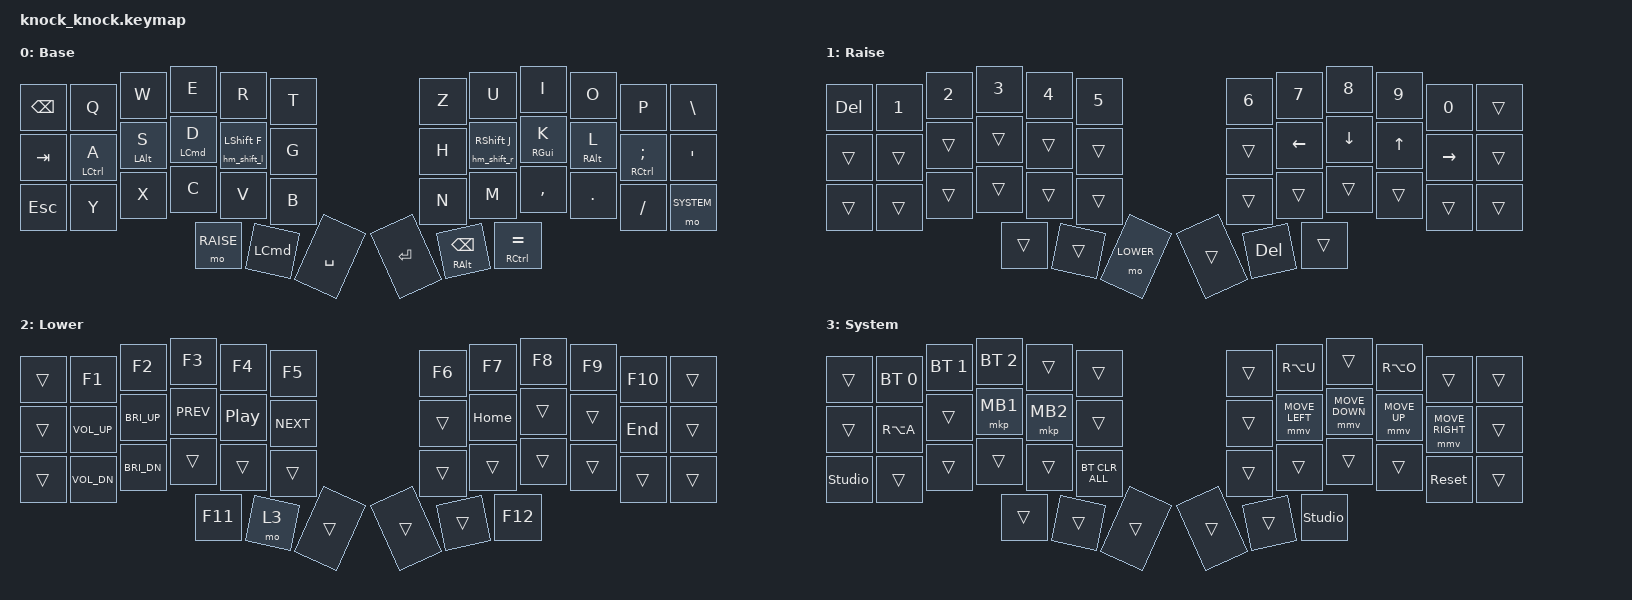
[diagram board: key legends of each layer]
#include <behaviors.dtsi>
#include <dt-bindings/zmk/bt.h>
#include <dt-bindings/zmk/outputs.h>
#include <dt-bindings/zmk/keys.h>
#include <dt-bindings/zmk/pointing.h>
/* #include <dt-bindings/zmk/studio_unlock.h> */

/* #include "includes/settings.dtsi" */
#include "includes/combos.dtsi"
#include "includes/homerow_mods.dtsi"

#define BASE   0
#define LOWER  1
#define RAISE  2
#define SYSTEM 3

/ {
    behaviors {
        mt: mod_tap {
            compatible = "zmk,behavior-hold-tap";
            #binding-cells = <2>;
            flavor = "hold-preferred";
            tapping-term-ms = <140>;
            bindings = <&kp>, <&kp>;
            display-name = "Mod-Tap";
        };
        /* mo_tog: behavior_mo_tog { */
        /*     compatible = "zmk,behavior-hold-tap"; */
        /*     #binding-cells = <2>; */
        /*     flavor = "hold-preferred"; */
        /*     tapping-term-ms = <200>; */
        /*     bindings = <&mo>, <&tog>; */
        /* }; */
    };

    keymap {
        compatible = "zmk,keymap";

        base {
            display-name = "Base";
            bindings = <
//    ┌──────┬──────────────┬──────────────┬──────────────┬────────────────────┬─────┐           ┌─────┬────────────────────┬──────────────┬──────────────┬──────────────┬───────────┐
//    │ bspc │      Q       │      W       │      E       │         R          │  T  │           │  Z  │         U          │      I       │      O       │      P       │     \     │
//    ├──────┼──────────────┼──────────────┼──────────────┼────────────────────┼─────┤           ├─────┼────────────────────┼──────────────┼──────────────┼──────────────┼───────────┤
//    │ tab  │ &hm_l lctl A │ &hm_l lalt S │ &hm_l lgui D │ &hm_shift_l lsft F │  G  │           │  H  │ &hm_shift_r rsft J │ &hm_r rgui K │ &hm_r ralt L │ &hm_r rctl ; │     '     │
//    ├──────┼──────────────┼──────────────┼──────────────┼────────────────────┼─────┤           ├─────┼────────────────────┼──────────────┼──────────────┼──────────────┼───────────┤
//    │ esc  │      Y       │      X       │      C       │         V          │  B  │           │  N  │         M          │      ,       │      .       │      /       │ mo SYSTEM │
//    └──────┴──────────────┴──────────────┼──────────────┼────────────────────┼─────┤           ├─────┼────────────────────┼──────────────┼──────────────┴──────────────┴───────────┘
//                                         │  mo raltISE  │        lgui        │ spc │           │ ent │  &hm_r ralt bspc   │ &hm_r rctl = │
//                                         └──────────────┴────────────────────┴─────┘           └─────┴────────────────────┴──────────────┘
  &kp BSPC   &kp Q           &kp W          &kp E          &kp R                  &kp T                   &kp Z       &kp U                  &kp I               &kp O               &kp P                   &kp BSLH
  &kp TAB    &hm_l LCTRL A   &hm_l LALT S   &hm_l LCMD D   &hm_shift_l LSHIFT F   &kp G                   &kp H       &hm_shift_r RSHIFT J   &hm_r RIGHT_GUI K   &hm_r RIGHT_ALT L   &hm_r RCTRL SEMICOLON   &kp SQT
  &kp ESC    &kp Y           &kp X          &kp C          &kp V                  &kp B                   &kp N       &kp M                  &kp COMMA           &kp PERIOD          &kp SLASH               &mo SYSTEM
                                            &mo RAISE      &kp LCMD               &kp SPACE               &kp ENTER   &hm_r RALT BSPC        &hm_r RCTRL EQUAL
            >;
        };

        raise {
            display-name = "Raise";
            bindings = <
//    ┌─────┬─────┬─────┬─────┬─────┬──────────┐           ┌─────┬──────┬──────┬─────┬──────┬─────┐
//    │ del │  1  │  2  │  3  │  4  │    5     │           │  6  │  7   │  8   │  9  │  0   │     │
//    ├─────┼─────┼─────┼─────┼─────┼──────────┤           ├─────┼──────┼──────┼─────┼──────┼─────┤
//    │     │     │     │     │     │          │           │     │ left │ down │ up  │ rght │     │
//    ├─────┼─────┼─────┼─────┼─────┼──────────┤           ├─────┼──────┼──────┼─────┼──────┼─────┤
//    │     │     │     │     │     │          │           │     │      │      │     │      │     │
//    └─────┴─────┴─────┼─────┼─────┼──────────┤           ├─────┼──────┼──────┼─────┴──────┴─────┘
//                      │     │     │ mo LOWER │           │     │ del  │      │
//                      └─────┴─────┴──────────┘           └─────┴──────┴──────┘
  &kp DEL   &kp NUMBER_1   &kp NUMBER_2   &kp NUMBER_3   &kp NUMBER_4   &kp N5                  &kp NUMBER_6   &kp N7     &kp N8     &kp N9   &kp N0      &trans
  &trans    &trans         &trans         &trans         &trans         &trans                  &trans         &kp LEFT   &kp DOWN   &kp UP   &kp RIGHT   &trans
  &trans    &trans         &trans         &trans         &trans         &trans                  &trans         &trans     &trans     &trans   &trans      &trans
                                          &trans         &trans         &mo LOWER               &trans         &kp DEL    &trans
            >;
        };

        lower {
            bindings = <
//    ┌─────┬──────┬──────┬──────┬──────┬──────┐           ┌─────┬──────┬─────┬─────┬─────┬─────┐
//    │     │  f1  │  f2  │  f3  │  f4  │  f5  │           │ f6  │  f7  │ f8  │ f9  │ f10 │     │
//    ├─────┼──────┼──────┼──────┼──────┼──────┤           ├─────┼──────┼─────┼─────┼─────┼─────┤
//    │     │ volu │ bri+ │ prev │ play │ next │           │     │ home │     │     │ end │     │
//    ├─────┼──────┼──────┼──────┼──────┼──────┤           ├─────┼──────┼─────┼─────┼─────┼─────┤
//    │     │ vold │ bri- │      │      │      │           │     │      │     │     │     │     │
//    └─────┴──────┴──────┼──────┼──────┼──────┤           ├─────┼──────┼─────┼─────┴─────┴─────┘
//                        │ f11  │ mo 3 │      │           │     │      │ f12 │
//                        └──────┴──────┴──────┘           └─────┴──────┴─────┘
  &trans   &kp F1            &kp F2         &kp F3       &kp F4     &kp F5                   &kp F6   &kp F7     &kp F8    &kp F9   &kp F10   &trans
  &trans   &kp C_VOLUME_UP   &kp C_BRI_UP   &kp C_PREV   &kp C_PP   &kp C_NEXT               &trans   &kp HOME   &trans    &trans   &kp END   &trans
  &trans   &kp C_VOL_DN      &kp C_BRI_DN   &trans       &trans     &trans                   &trans   &trans     &trans    &trans   &trans    &trans
                                            &kp F11      &mo 3      &trans                   &trans   &trans     &kp F12
            >;

            label = "Lower";
        };

        system {
            bindings = <
//    ┌────────────────┬──────────┬──────────┬──────────┬──────┬────────────┐           ┌─────┬────────────────┬────────────────┬──────────────┬────────────────┬─────┐
//    │                │ bt_sel 0 │ bt_sel 1 │ bt_sel 2 │      │            │           │     │    ralt(U)     │                │   ralt(O)    │                │     │
//    ├────────────────┼──────────┼──────────┼──────────┼──────┼────────────┤           ├─────┼────────────────┼────────────────┼──────────────┼────────────────┼─────┤
//    │                │ ralt(A)  │          │   lclk   │ rclk │            │           │     │ &mmv MOVE_left │ &mmv MOVE_down │ &mmv MOVE_up │ &mmv MOVE_rght │     │
//    ├────────────────┼──────────┼──────────┼──────────┼──────┼────────────┤           ├─────┼────────────────┼────────────────┼──────────────┼────────────────┼─────┤
//    │ &studio_unlock │          │          │          │      │ bt_clr_ALL │           │     │                │                │              │   &sys_reset   │     │
//    └────────────────┴──────────┴──────────┼──────────┼──────┼────────────┤           ├─────┼────────────────┼────────────────┼──────────────┴────────────────┴─────┘
//                                           │          │      │            │           │     │                │ &studio_unlock │
//                                           └──────────┴──────┴────────────┘           └─────┴────────────────┴────────────────┘
  &trans           &bt BT_SEL 0   &bt BT_SEL 1   &bt BT_SEL 2   &trans     &trans                       &trans   &kp RA(U)        &trans           &kp RA(O)      &trans            &trans
  &trans           &kp RA(A)      &trans         &mkp MB1       &mkp MB2   &trans                       &trans   &mmv MOVE_LEFT   &mmv MOVE_DOWN   &mmv MOVE_UP   &mmv MOVE_RIGHT   &trans
  &studio_unlock   &trans         &trans         &trans         &trans     &bt BT_CLR_ALL               &trans   &trans           &trans           &trans         &sys_reset        &trans
                                                 &trans         &trans     &trans                       &trans   &trans           &studio_unlock
            >;

            label = "System";
        };
    };
};
